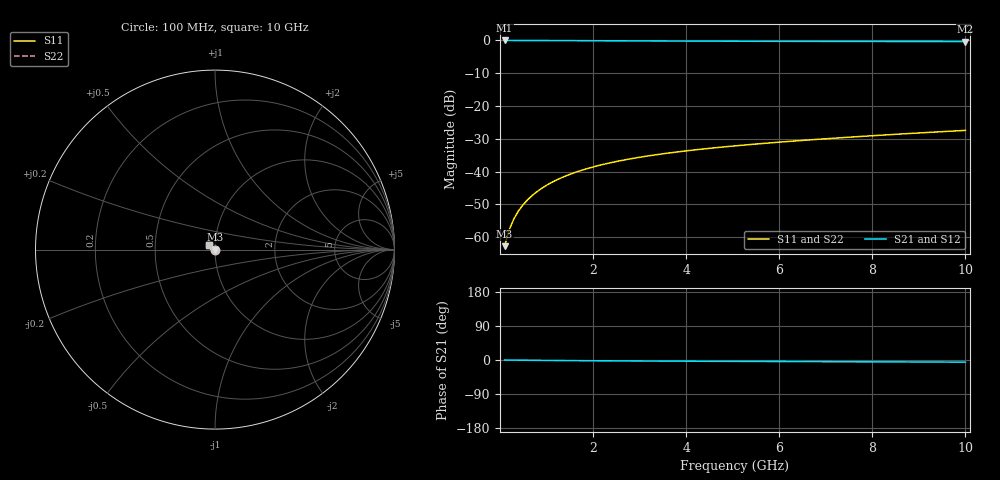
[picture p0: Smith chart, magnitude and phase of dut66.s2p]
! Touchstone file exported from HFSS 2024.1.0
!  File:  C:/UserFiles/LocalFiles/RDL_TSV_Batchsim/temp_TSV1_66_1779373641.aedt
!  Generated:  10:34:36 PM May 21, 2026
!  Design:  TSV1
!  Project:  temp_TSV1_66_1779373641
!  Setup:  Setup1
!  Solution:  Sweep
! Variables:
!  dtsv = 6.22um
!  hbump = 3um
!  htsv = 81.95um
!  lrdl = 252.1521522um
!  p = 40
!  p1 = 55.41um
!  t = 500um
!  trdl = 3um
!  wrdl = 24.89489489um
# GHz S MA R 50.000000
! Terminal data exported
! Port[1] = TSV22_T1
! Port[2] = TSV22_T2
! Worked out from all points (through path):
!   100 points, 100 MHz to 10 GHz, reference 50 ohm
!   highest |S21| = 0.00 dB at 100 MHz (marker M1); lowest = -0.3 dB at 10 GHz (marker M2)
!   lowest |S11| = -62.8 dB at 100 MHz (marker M3), VSWR 1.00, Z = 50 - j0.0638 ohm
!   |S11| at or under -10 dB: start of sweep to end of sweep
!   |S22| runs from -62.8 to -27.5 dB; largest |S21 - S12| = 4.7e-15
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0.1  0.0007255 -61.6  0.9996 -0.1  0.9996 -0.1  0.0007255 -61.6
! Gamma 0 0 0 0
! Port Impedance 50 0 50 0
0.2  0.001299 -78.3  0.9995 -0.2  0.9995 -0.2  0.001299 -78.3
0.3  0.001903 -86.2  0.9994 -0.3  0.9994 -0.3  0.001903 -86.2
0.4  0.002514 -91.4  0.9992 -0.4  0.9992 -0.4  0.002514 -91.4
0.5  0.003127 -95.6  0.9989 -0.5  0.9989 -0.5  0.003127 -95.6
0.6  0.003739 -99.1  0.9986 -0.7  0.9986 -0.7  0.003739 -99.1
0.7  0.00435 -102.4  0.9982 -0.8  0.9982 -0.8  0.00435 -102.4
0.8  0.004957 -105.3  0.9978 -0.9  0.9978 -0.9  0.004957 -105.3
0.9  0.005559 -108.1  0.9974 -1.0  0.9974 -1.0  0.005559 -108.2
1.1  0.006748 -113.4  0.9964 -1.2  0.9964 -1.2  0.006748 -113.4
1.4  0.00848 -120.8  0.9948 -1.4  0.9948 -1.4  0.00848 -120.8
1.6  0.009596 -125.4  0.9935 -1.6  0.9935 -1.6  0.009596 -125.4
1.8  0.01068 -129.9  0.9922 -1.8  0.9922 -1.8  0.01068 -129.9
2.1  0.01224 -136.2  0.9902 -2.0  0.9902 -2.0  0.01224 -136.2
2.5  0.0142 -144.1  0.9875 -2.3  0.9875 -2.3  0.0142 -144.1
2.9  0.01605 -151.4  0.9848 -2.5  0.9848 -2.5  0.01605 -151.4
3.4  0.01821 -159.8  0.9816 -2.8  0.9816 -2.8  0.01821 -159.8
4.2  0.02142 -171.6  0.9772 -3.2  0.9772 -3.2  0.02142 -171.6
5.1  0.02479 177.3  0.9732 -3.6  0.9732 -3.6  0.02479 177.3
6.7  0.03053 161.6  0.968 -4.3  0.968 -4.3  0.03053 161.6
8.4  0.03658 149.2  0.9642 -5.0  0.9642 -5.0  0.03658 149.2
10  0.0424 140.2  0.9617 -5.6  0.9617 -5.6  0.0424 140.2
